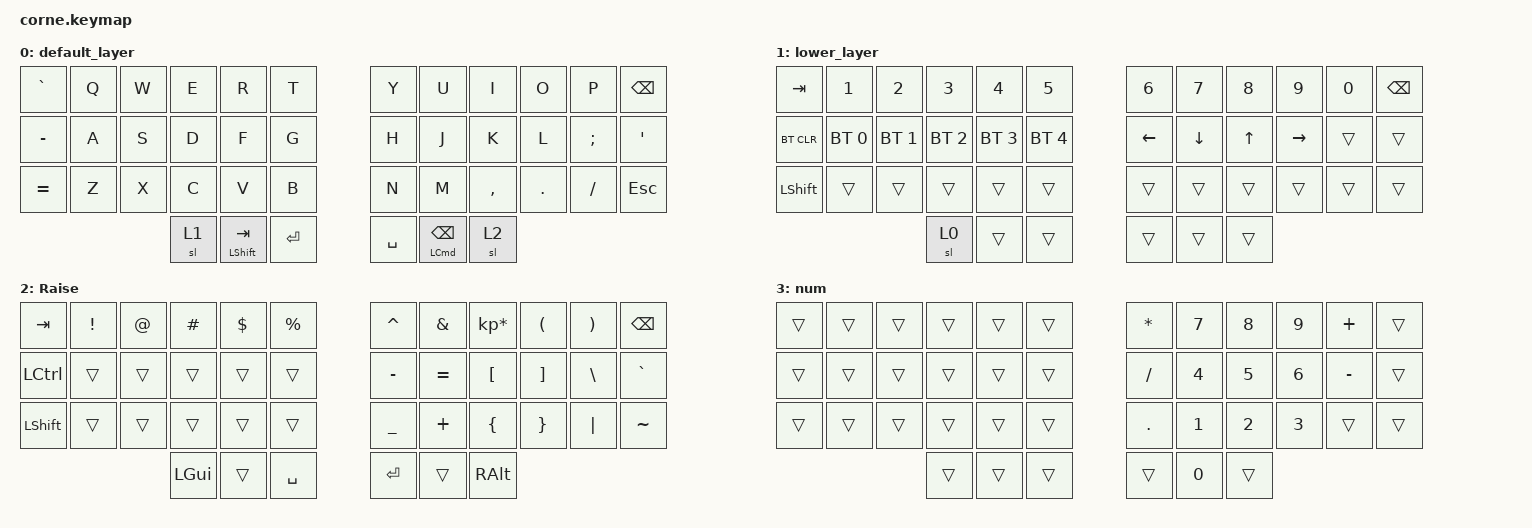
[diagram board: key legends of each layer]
/*
 * Copyright (c) 2020 The ZMK Contributors
 *
 * SPDX-License-Identifier: MIT
 */

#include <behaviors.dtsi>
#include <dt-bindings/zmk/bt.h>
#include <dt-bindings/zmk/keys.h>

/ {
    combos {
        compatible = "zmk,combos";

        desk_right {
            bindings = <&kp LC(RIGHT)>;
            key-positions = <6 18>;
        };

        desk_left {
            bindings = <&kp LC(LEFT)>;
            key-positions = <5 17>;
        };
    };

    behaviors {
        dual_layer: dual_layer {
            compatible = "zmk,behavior-hold-tap";
            label = "DUAL_LAYER";
            #binding-cells = <2>;
            hold-trigger-key-positions = <41 36>;
            flavor = "balanced";
            tapping-term-ms = <150>;
            bindings = <&to>, <&mo>;
        };

        dual_kp: dual_kp {
            compatible = "zmk,behavior-hold-tap";
            label = "DUAL_KP";
            bindings = <&kp>, <&kp>;

            #binding-cells = <2>;
            hold-trigger-key-positions = <37 40>;
            flavor = "balanced";
            tapping-term-ms = <150>;
        };
    };

    keymap {
        compatible = "zmk,keymap";

        default_layer {
            // -----------------------------------------------------------------------------------------
            // |  TAB |  Q  |  W  |  E  |  R  |  T  |   |  Y  |  U   |  I  |  O  |  P  | BKSP |
            // | CTRL |  A  |  S  |  D  |  F  |  G  |   |  H  |  J   |  K  |  L  |  ;  |  '   |
            // | SHFT |  Z  |  X  |  C  |  V  |  B  |   |  N  |  M   |  ,  |  .  |  /  | ESC  |
            //                    | GUI | LWR | SPC |   | ENT | RSE  | ALT |

            bindings = <
&kp GRAVE  &kp Q  &kp W  &kp E  &kp R                    &kp T        &kp Y      &kp U                            &kp I      &kp O    &kp P     &kp BSPC
&kp MINUS  &kp A  &kp S  &kp D  &kp F                    &kp G        &kp H      &kp J                            &kp K      &kp L    &kp SEMI  &kp SQT
&kp EQUAL  &kp Z  &kp X  &kp C  &kp V                    &kp B        &kp N      &kp M                            &kp COMMA  &kp DOT  &kp FSLH  &kp ESC
                         &sl 1  &dual_kp LEFT_SHIFT TAB  &kp ENTER    &kp SPACE  &dual_kp LEFT_COMMAND BACKSPACE  &sl 2
            >;
        };

        lower_layer {
            // -----------------------------------------------------------------------------------------
            // |  TAB |  1  |  2  |  3  |  4  |  5  |   |  6  |  7  |  8  |  9  |  0  | BKSP |
            // | BTCLR| BT1 | BT2 | BT3 | BT4 | BT5 |   | LFT | DWN |  UP | RGT |     |      |
            // | SHFT |     |     |     |     |     |   |     |     |     |     |     |      |
            //                    | GUI |     | SPC |   | ENT |     | ALT |

            bindings = <
&kp TAB     &kp N1        &kp N2        &kp N3        &kp N4        &kp N5          &kp N6    &kp N7    &kp N8  &kp N9     &kp N0  &kp BSPC
&bt BT_CLR  &bt BT_SEL 0  &bt BT_SEL 1  &bt BT_SEL 2  &bt BT_SEL 3  &bt BT_SEL 4    &kp LEFT  &kp DOWN  &kp UP  &kp RIGHT  &trans  &trans
&kp LSHFT   &trans        &trans        &trans        &trans        &trans          &trans    &trans    &trans  &trans     &trans  &trans
                                        &sl 0         &trans        &trans          &trans    &trans    &trans
            >;
        };

        raise_layer {
            // -----------------------------------------------------------------------------------------
            // |  TAB |  !  |  @  |  #  |  $  |  %  |   |  ^  |  &  |  *  |  (  |  )  | BKSP |
            // | CTRL |     |     |     |     |     |   |  -  |  =  |  [  |  ]  |  \  |  `   |
            // | SHFT |     |     |     |     |     |   |  _  |  +  |  {  |  }  | "|" |  ~   |
            //                    | GUI |     | SPC |   | ENT |     | ALT |

            display-name = "Raise";
            bindings = <
&kp TAB    &kp EXCL  &kp AT  &kp HASH  &kp DLLR  &kp PRCNT    &kp CARET  &kp AMPS   &kp KP_MULTIPLY  &kp LPAR  &kp RPAR  &kp BSPC
&kp LCTRL  &trans    &trans  &trans    &trans    &trans       &kp MINUS  &kp EQUAL  &kp LBKT         &kp RBKT  &kp BSLH  &kp GRAVE
&kp LSHFT  &trans    &trans  &trans    &trans    &trans       &kp UNDER  &kp PLUS   &kp LBRC         &kp RBRC  &kp PIPE  &kp TILDE
                             &kp LGUI  &trans    &kp SPACE    &kp RET    &trans     &kp RALT
            >;
        };

        num {
            bindings = <
&trans  &trans  &trans  &trans  &trans  &trans    &kp ASTERISK  &kp N7        &kp N8        &kp N9        &kp PLUS   &trans
&trans  &trans  &trans  &trans  &trans  &trans    &kp SLASH     &kp NUMBER_4  &kp N5        &kp NUMBER_6  &kp MINUS  &trans
&trans  &trans  &trans  &trans  &trans  &trans    &kp PERIOD    &kp NUMBER_1  &kp NUMBER_2  &kp NUMBER_3  &trans     &trans
                        &trans  &trans  &trans    &trans        &kp N0        &trans
            >;
        };
    };
};
